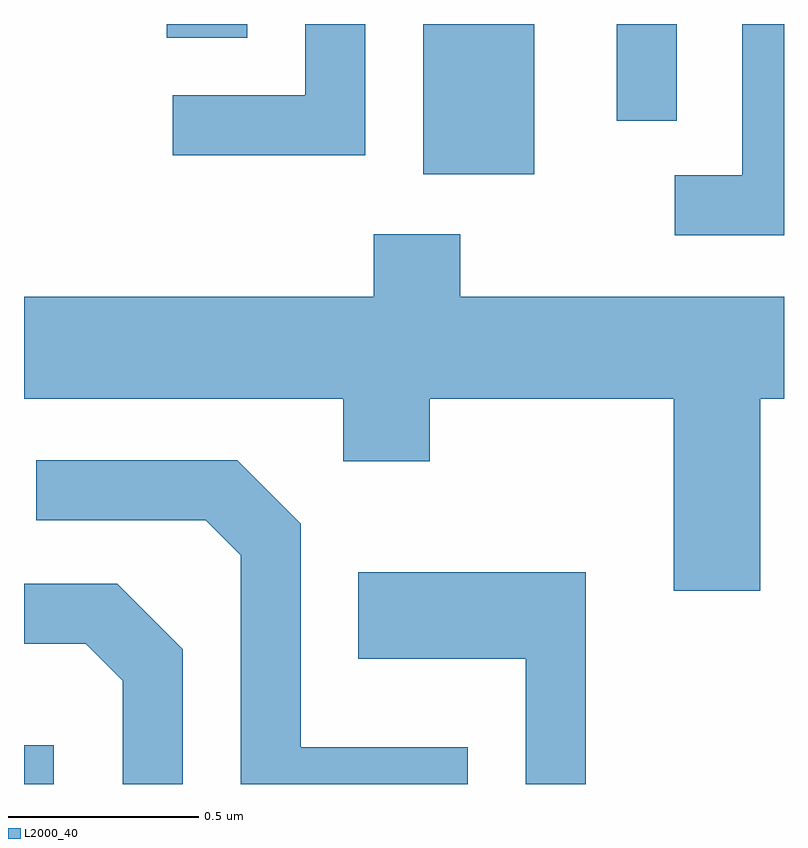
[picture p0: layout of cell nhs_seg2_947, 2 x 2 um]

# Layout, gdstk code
import gdstk
lib = gdstk.Library(unit=1e-6, precision=1e-09)
def R(c, l, rs):  # rectangles x0, y0, x1, y1
    for r in rs: c.add(gdstk.rectangle(r[:2], r[2:], *l))
def P(c, l, *ps):  # polygons
    for p in ps: c.add(gdstk.Polygon(p, *l))
L2000_40 = (2000, 40)

nhs_seg2_947 = lib.new_cell('nhs_seg2_947')
R(nhs_seg2_947, L2000_40, [(191.611,1102.802,191.689,1102.904), (192.661,1104.406,192.954,1104.802), (193.171,1104.548,193.329,1104.802), (191.986,1104.766,192.199,1104.802)])
P(nhs_seg2_947, L2000_40, [(192.509,1104.802),(192.351,1104.802),(192.351,1104.614),(192.003,1104.614),(192.003,1104.456),(192.509,1104.456)],
  [(193.611,1104.802),(193.501,1104.802),(193.501,1104.404),(193.323,1104.404),(193.323,1104.246),(193.611,1104.246)],
  [(193.549,1103.816),(193.611,1103.816),(193.611,1104.084),(192.759,1104.084),(192.759,1104.249),(192.531,1104.249),(192.531,1104.084),(191.611,1104.084),(191.611,1103.816),(192.451,1103.816),(192.451,1103.651),(192.679,1103.651),(192.679,1103.816),(193.321,1103.816),(193.321,1103.311),(193.549,1103.311)],
  [(192.779,1102.899),(192.339,1102.899),(192.339,1103.487),(192.172,1103.654),(191.643,1103.654),(191.643,1103.496),(192.089,1103.496),(192.181,1103.404),(192.181,1102.802),(192.779,1102.802)],
  [(193.089,1103.359),(192.491,1103.359),(192.491,1103.131),(192.931,1103.131),(192.931,1102.802),(193.089,1102.802)],
  [(192.029,1103.157),(191.857,1103.329),(191.611,1103.329),(191.611,1103.171),(191.774,1103.171),(191.871,1103.074),(191.871,1102.802),(192.029,1102.802)])

lib.write_gds('nhs_seg2_947.gds')
